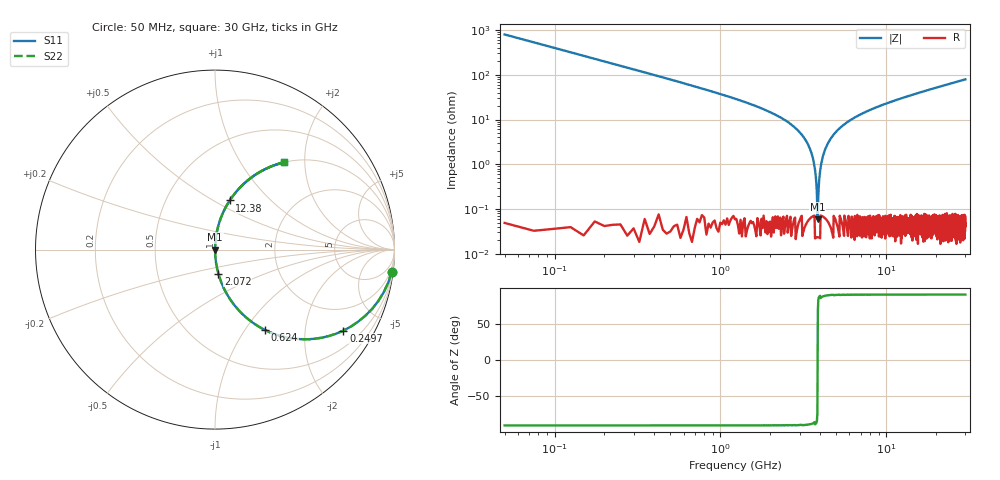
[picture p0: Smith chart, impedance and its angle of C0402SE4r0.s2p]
!	AVX Thin Film Operation 	Date: April 2014
!	Description: Accu-P® Series, Thin Film  SMD RF Capacitor
!	Part Number: 04025J4R0ABSTR
# MHZ S MA R 50
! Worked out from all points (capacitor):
!   1201 points, 50 MHz to 30 GHz, reference 50 ohm
!   read as one part in series: C = 4 pF near 199.8 MHz
!   lowest |Z| = 59.2 mohm at 3.869 GHz (marker M1)
!   series resonance near 3.858 GHz, so ESL is about 430 pH
!   S11 on the Smith chart (normalised r, x): 50 MHz: 1, -16; 249.7 MHz: 1.00, -3.17; 624 MHz: 1.00, -1.24; 2.072 GHz: 1.00, -0.27; 12.38 GHz: 1.00, +0.60; 30 GHz: 1.00, +1.58
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50  0.992 -7.2  0.125 82.8  0.125 82.8  0.992 -7.2
249.667  0.846 -32.2  0.533 57.8  0.533 57.8  0.846 -32.2
624.042  0.527 -58.1  0.849 31.8  0.849 31.8  0.527 -58.1
1123.208  0.308 -72.0  0.951 18.0  0.951 18.0  0.308 -72.0
2071.625  0.135 -82.0  0.99 7.8  0.99 7.8  0.135 -82.0
2870.292  0.062 -86.0  0.998 3.5  0.998 3.5  0.062 -86.0
3319.542  0.031 -87.4  0.999 1.8  0.999 1.8  0.031 -87.4
3569.125  0.016 -87.4  0.999 0.9  0.999 0.9  0.016 -87.4
3644  0.012 -87.0  0.999 0.7  0.999 0.7  0.012 -87.0
3743.833  0.006232 -85.3  1 0.4  1 0.4  0.006232 -85.3
3868.625  0.0007206 49.3  1 -0.0  1 -0.0  0.0007206 49.3
3968.458  0.005818 85.0  1 -0.3  1 -0.3  0.005818 85.0
4118.208  0.013 87.2  0.999 -0.8  0.999 -0.8  0.013 87.2
4292.917  0.022 87.5  0.999 -1.3  0.999 -1.3  0.022 87.5
5041.667  0.056 86.3  0.998 -3.2  0.998 -3.2  0.056 86.3
6863.625  0.124 82.6  0.992 -7.1  0.992 -7.1  0.124 82.6
10058.29  0.223 77.0  0.974 -12.9  0.974 -12.9  0.223 77.0
12379.42  0.286 73.3  0.958 -16.6  0.958 -16.6  0.286 73.3
15025  0.351 69.4  0.936 -20.6  0.936 -20.6  0.351 69.4
20016.67  0.458 62.7  0.889 -27.2  0.889 -27.2  0.458 62.7
25033.29  0.547 56.8  0.837 -33.1  0.837 -33.1  0.547 56.8
30000  0.619 51.7  0.785 -38.2  0.785 -38.2  0.619 51.7
